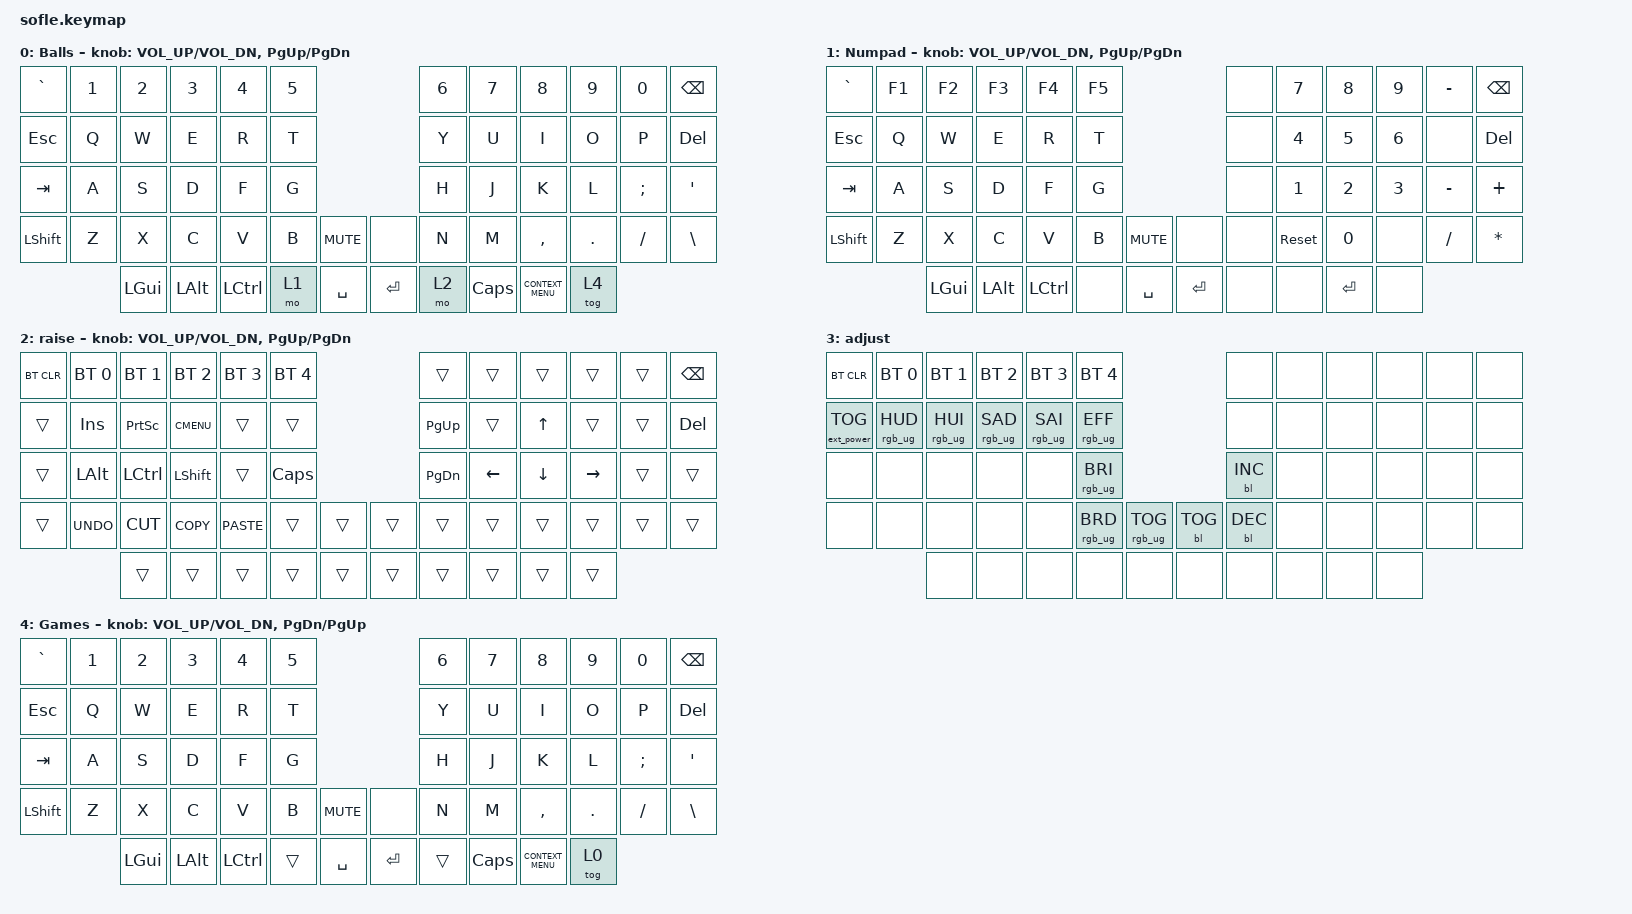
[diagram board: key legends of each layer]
/*
 * Copyright (c) 2020 The ZMK Contributors
 *
 * SPDX-License-Identifier: MIT
 */

#include <behaviors.dtsi>
#include <dt-bindings/zmk/backlight.h>
#include <dt-bindings/zmk/bt.h>
#include <dt-bindings/zmk/ext_power.h>
#include <dt-bindings/zmk/keys.h>
#include <dt-bindings/zmk/rgb.h>

#define BASE 0
#define LOWER 1
#define RAISE 2
#define ADJUST 3

/ {
    // Activate ADJUST layer by pressing raise and lower

    conditional_layers {
        compatible = "zmk,conditional-layers";

        adjust_layer {
            if-layers = <1 2>;
            then-layer = <3>;
        };
    };

    keymap {
        compatible = "zmk,keymap";

        default_layer {
            display-name = "Balls";

            // ------------------------------------------------------------------------------------------------------------
            // |   `   |  1  |  2  |  3   |  4   |  5   |                   |  6   |  7    |  8    |  9   |   0   |       |
            // |  ESC  |  Q  |  W  |  E   |  R   |  T   |                   |  Y   |  U    |  I    |  O   |   P   | BKSPC |
            // |  TAB  |  A  |  S  |  D   |  F   |  G   |                   |  H   |  J    |  K    |  L   |   ;   |   '   |
            // | SHIFT |  Z  |  X  |  C   |  V   |  B   |  MUTE  |  |       |  N   |  M    |  ,    |  .   |   /   | SHIFT |
            //               | GUI | ALT  | CTRL | LOWER|  ENTER |  | SPACE | RAISE| CTRL  | ALT   | GUI  |

            bindings = <
&kp GRAVE  &kp N1  &kp N2    &kp N3    &kp N4     &kp N5                           &kp N6  &kp N7    &kp N8              &kp N9   &kp N0    &kp BACKSPACE
&kp ESC    &kp Q   &kp W     &kp E     &kp R      &kp T                            &kp Y   &kp U     &kp I               &kp O    &kp P     &kp DEL
&kp TAB    &kp A   &kp S     &kp D     &kp F      &kp G                            &kp H   &kp J     &kp K               &kp L    &kp SEMI  &kp SQT
&kp LSHFT  &kp Z   &kp X     &kp C     &kp V      &kp B   &kp C_MUTE    &none      &kp N   &kp M     &kp COMMA           &kp DOT  &kp FSLH  &kp BACKSLASH
                   &kp LGUI  &kp LALT  &kp LCTRL  &mo 1   &kp SPACE     &kp ENTER  &mo 2  &kp CLCK  &kp K_CONTEXT_MENU  &tog 4
            >;

            sensor-bindings = <&inc_dec_kp C_VOL_UP C_VOL_DN &inc_dec_kp PG_UP PG_DN>;
        };

        lower_layer {
            display-name = "lower";

            // TODO: Some binds are waiting for shifted keycode support.
            // ------------------------------------------------------------------------------------------------------------
            // |       |  F1 |  F2 |  F3  |  F4  |  F5  |                   |  F6  |  F7   |  F8   |  F9  |  F10  |  F11  |
            // |   `   |  1  |  2  |  3   |  4   |  5   |                   |  6   |  7    |  8    |  9   |   0   |  F12  |
            // |       |  !  |  @  |  #   |  $   |  %   |                   |  ^   |  &    |  *    |  (   |   )   |   |   |
            // |       |  =  |  -  |  +   |  {   |  }   |        |  |       |  [   |  ]    |  ;    |  :   |   \   |       |
            //               |     |      |      |      |        |  |       |      |       |       |      |

            bindings = <
&kp GRAVE       &kp F1  &kp F2    &kp F3    &kp F4     &kp F5                           &none  &kp NUMBER_7  &kp NUMBER_8  &kp NUMBER_9  &kp MINUS  &kp BACKSPACE
&kp ESC         &kp Q   &kp W     &kp E     &kp R      &kp T                            &none  &kp N4        &kp N5        &kp N6        &none      &kp DEL
&kp TAB         &kp A   &kp S     &kp D     &kp F      &kp G                            &none  &kp N1        &kp N2        &kp N3        &kp MINUS  &kp PLUS
&kp LEFT_SHIFT  &kp Z   &kp X     &kp C     &kp V      &kp B   &kp C_MUTE    &none      &none  &sys_reset        &kp NUMBER_0  &none         &kp SLASH  &kp ASTERISK
                        &kp LGUI  &kp LALT  &kp LCTRL  &none   &kp SPACE     &kp ENTER  &none  &none         &kp ENTER     &none
            >;

            sensor-bindings = <&inc_dec_kp C_VOL_UP C_VOL_DN &inc_dec_kp PG_UP PG_DN>;
            display-name = "Numpad";
        };

        raise_layer {
            display-name = "raise";

            // ------------------------------------------------------------------------------------------------------------
            // | BTCLR | BT1  | BT2  |  BT3  |  BT4  |  BT5 |                |      |      |       |      |       |       |
            // |       | INS  | PSCR | GUI   |       |      |                | PGUP |      |   ^   |      |       |       |
            // |       | ALT  | CTRL | SHIFT |       | CAPS |                | PGDN |   <- |   v   |  ->  |  DEL  | BKSPC |
            // |       | UNDO | CUT  | COPY  | PASTE |      |      |  |      |      |      |       |      |       |       |
            //                |      |       |       |      |      |  |      |      |      |       |      |

            bindings = <
&bt BT_CLR  &bt BT_SEL 0  &bt BT_SEL 1  &bt BT_SEL 2  &bt BT_SEL 3  &bt BT_SEL 4                    &trans     &trans    &trans    &trans     &trans  &kp BACKSPACE
&trans      &kp INS       &kp PSCRN     &kp K_CMENU   &trans        &trans                          &kp PG_UP  &trans    &kp UP    &trans     &trans  &kp DEL
&trans      &kp LALT      &kp LCTRL     &kp LSHFT     &trans        &kp CLCK                        &kp PG_DN  &kp LEFT  &kp DOWN  &kp RIGHT  &trans  &trans
&trans      &kp K_UNDO    &kp K_CUT     &kp K_COPY    &kp K_PASTE   &trans        &trans    &trans  &trans     &trans    &trans    &trans     &trans  &trans
                          &trans        &trans        &trans        &trans        &trans    &trans  &trans     &trans    &trans    &trans
            >;

            sensor-bindings = <&inc_dec_kp C_VOL_UP C_VOL_DN &inc_dec_kp PG_UP PG_DN>;
        };

        adjust_layer {
            // ----------------------------------------------------------------------------------------------------------------------------
            // | BTCLR  |  BT1    |  BT2    |   BT3   |   BT4   |   BT5   |                  |      |      |       |      |       |       |
            // | EXTPWR | RGB_HUD | RGB_HUI | RGB_SAD | RGB_SAI | RGB_EFF |                  |      |      |       |      |       |       |
            // |        | RGB_BRD | RGB_BRI |         |         |         |                  |      |      |       |      |       |       |
            // |        |         |         |         |         |         | RGB_TOG | |      |      |      |       |      |       |       |
            //                    |         |         |         |         |         | |      |      |      |       |      |

            display-name = "adjust";
            bindings = <
&bt BT_CLR         &bt BT_SEL 0     &bt BT_SEL 1     &bt BT_SEL 2     &bt BT_SEL 3     &bt BT_SEL 4                                    &none       &none  &none  &none  &none  &none
&ext_power EP_TOG  &rgb_ug RGB_HUD  &rgb_ug RGB_HUI  &rgb_ug RGB_SAD  &rgb_ug RGB_SAI  &rgb_ug RGB_EFF                                 &none       &none  &none  &none  &none  &none
&none              &none            &none            &none            &none            &rgb_ug RGB_BRI                                 &bl BL_INC  &none  &none  &none  &none  &none
&none              &none            &none            &none            &none            &rgb_ug RGB_BRD  &rgb_ug RGB_TOG    &bl BL_TOG  &bl BL_DEC  &none  &none  &none  &none  &none
                                    &none            &none            &none            &none            &none              &none       &none       &none  &none  &none
            >;
        };

        layer_4 {
            display-name = "Games";
            bindings = <
&kp GRAVE  &kp N1  &kp N2    &kp N3    &kp N4     &kp N5                           &kp N6  &kp N7    &kp N8              &kp N9   &kp N0    &kp BACKSPACE
&kp ESC    &kp Q   &kp W     &kp E     &kp R      &kp T                            &kp Y   &kp U     &kp I               &kp O    &kp P     &kp DEL
&kp TAB    &kp A   &kp S     &kp D     &kp F      &kp G                            &kp H   &kp J     &kp K               &kp L    &kp SEMI  &kp SQT
&kp LSHFT  &kp Z   &kp X     &kp C     &kp V      &kp B   &kp C_MUTE    &none      &kp N   &kp M     &kp COMMA           &kp DOT  &kp FSLH  &kp BACKSLASH
                   &kp LGUI  &kp LALT  &kp LCTRL  &trans   &kp SPACE     &kp ENTER  &trans  &kp CLCK  &kp K_CONTEXT_MENU  &tog 0
            >;

            sensor-bindings =
                <&inc_dec_kp C_VOL_UP C_VOL_DN>,
                <&inc_dec_kp PG_DN PG_UP>;
        };
    };
};
